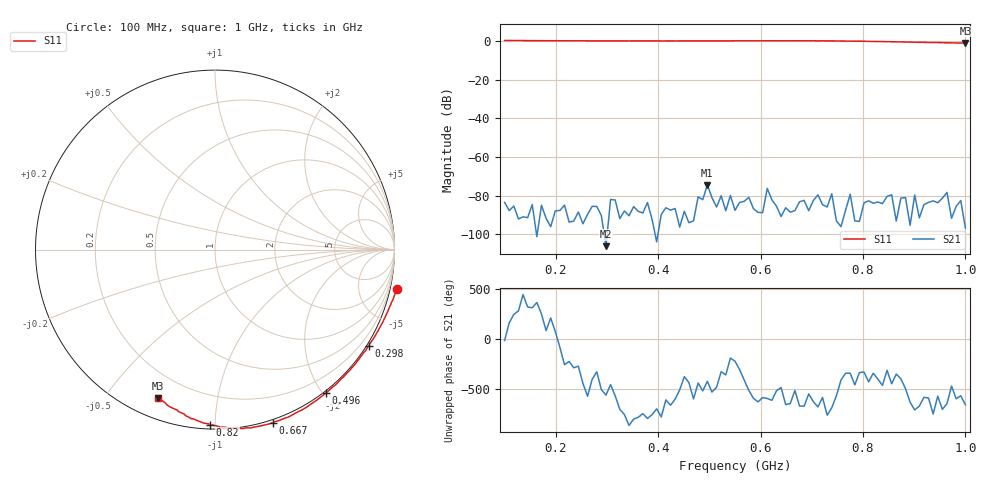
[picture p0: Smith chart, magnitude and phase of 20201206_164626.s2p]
# HZ S RI R 50
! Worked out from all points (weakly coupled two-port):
!   101 points, 100 MHz to 1 GHz, reference 50 ohm
!   highest |S21| = -74.45 dB at 496 MHz (marker M1); lowest = -106.2 dB at 298 MHz (marker M2)
!   lowest |S11| = -1.0 dB at 1 GHz (marker M3), VSWR 16.73, Z = 4.4 - j34.2 ohm
!   |S11| at or under -10 dB: nowhere
!   S12 and S22 are empty: the file has one direction only
!   S11 on the Smith chart (normalised r, x): 100 MHz: -1.53, -9.10; 298 MHz: -0.06, -3.48; 496 MHz: -0.03, -2.04; 667 MHz: -0.02, -1.39; 820 MHz: 0.02, -0.97; 1 GHz: 0.09, -0.68
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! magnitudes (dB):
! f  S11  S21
! 100 MHz  0.3  -83.5
! 253 MHz  0.1  -94.6
! 298 MHz  0.1  -106.2
! 406 MHz  0.1  -89.7
! 487 MHz  0.1  -82.1
! 496 MHz  0.1  -74.4
! 505 MHz  0.1  -81.1
! 550 MHz  0.1  -87.6
! 604 MHz  0.1  -88.8
! 613 MHz  0.1  -76.3
! 622 MHz  0.2  -82.1
! 667 MHz  0.1  -87.8
! 703 MHz  0.1  -82.5
! 730 MHz  0.1  -85.9
! 739 MHz  0.1  -79.0
! 748 MHz  0.1  -93.0
! 820 MHz  -0.2  -84.0
! 856 MHz  -0.4  -79.6
! 955 MHz  -0.9  -81.4
! 964 MHz  -0.9  -78.4
! 973 MHz  -0.9  -91.7
! 1 GHz  -1.0  -96.7
